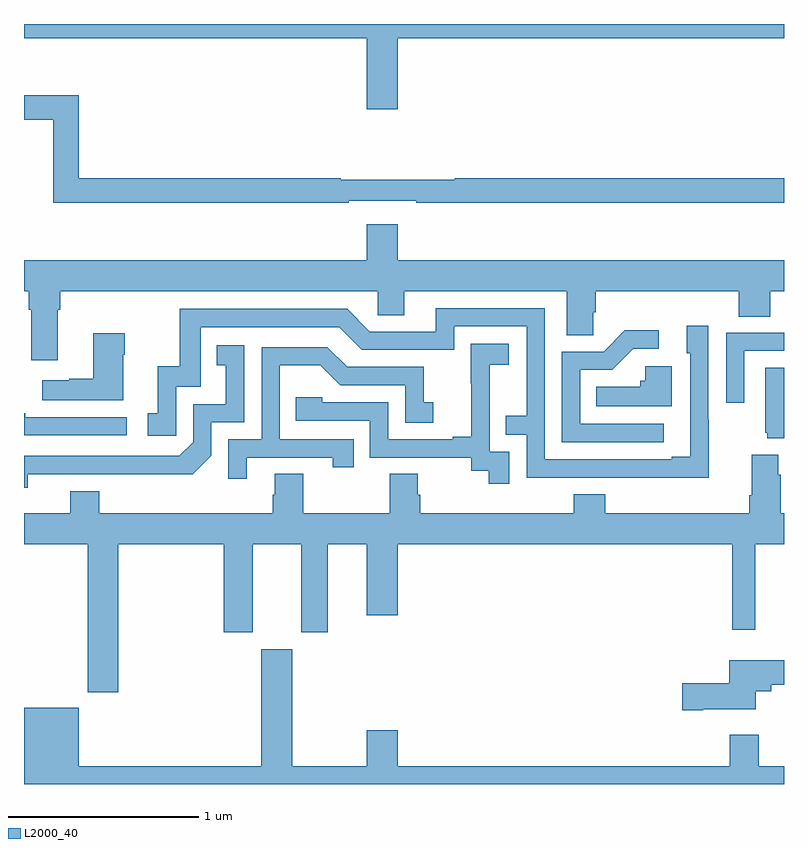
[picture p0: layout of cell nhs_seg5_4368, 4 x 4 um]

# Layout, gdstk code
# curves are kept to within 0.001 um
import gdstk
lib = gdstk.Library(unit=1e-6, precision=1e-09)
def P(c, l, *ps):  # polygons
    for p in ps: c.add(gdstk.Polygon(p, *l))
L2000_40 = (2000, 40)

nhs_seg5_4368 = lib.new_cell('nhs_seg5_4368')
P(nhs_seg5_4368, L2000_40, [(368.968,892.724),(371,892.724),(371,892.799),(367,892.799),(367,892.724),(368.804,892.724),(368.804,892.35),(368.968,892.35)],
  [(368.708,891.87),(369.064,891.87),(369.064,891.858),(371,891.858),(371,891.986),(369.266,891.986),(369.266,891.979),(368.666,891.979),(368.666,891.986),(367.289,891.986),(367.289,892.423),(367,892.423),(367,892.294),(367.153,892.294),(367.153,891.858),(368.708,891.858)],
  [(367.177,891.296),(367.19,891.296),(367.19,891.392),(368.862,891.392),(368.862,891.265),(369.001,891.265),(369.001,891.392),(369.857,891.392),(369.857,891.16),(369.996,891.16),(369.996,891.283),(370.01,891.283),(370.01,891.392),(370.763,891.392),(370.763,891.259),(370.928,891.259),(370.928,891.392),(371,891.392),(371,891.556),(368.968,891.556),(368.968,891.745),(368.804,891.745),(368.804,891.556),(367,891.556),(367,891.392),(367.025,891.392),(367.025,891.296),(367.037,891.296),(367.037,891.03),(367.177,891.03)],
  [(370.605,890.717),(370.602,890.717),(370.602,891.211),(370.487,891.211),(370.487,891.066),(370.506,891.066),(370.506,890.521),(370.409,890.521),(370.409,890.508),(369.741,890.508),(369.741,891.303),(369.167,891.303),(369.167,891.18),(368.82,891.18),(368.7,891.3),(367.821,891.3),(367.821,890.998),(367.703,890.998),(367.703,890.751),(367.65,890.751),(367.65,890.631),(367.8,890.631),(367.8,890.889),(367.929,890.889),(367.929,891.204),(368.658,891.204),(368.778,891.084),(369.264,891.084),(369.264,891.207),(369.645,891.207),(369.645,890.738),(369.535,890.738),(369.535,890.637),(369.645,890.637),(369.645,890.412),(370.605,890.411)],
  [(370.366,890.694),(369.927,890.694),(369.927,890.979),(370.096,890.979),(370.207,891.09),(370.342,891.09),(370.342,891.188),(370.163,891.188),(370.05,891.075),(369.831,891.075),(369.831,890.598),(370.366,890.598)],
  [(370.791,891.078),(371,891.078),(371,891.174),(370.695,891.174),(370.695,890.805),(370.791,890.805)],
  [(367.522,891.059),(367.53,891.059),(367.53,891.172),(367.364,891.172),(367.364,890.933),(367.238,890.933),(367.238,890.923),(367.095,890.923),(367.095,890.819),(367.522,890.819)],
  [(369.555,890.547),(369.45,890.547),(369.45,890.777),(369.452,890.777),(369.452,891.005),(369.55,891.005),(369.55,891.115),(369.352,891.115),(369.352,890.909),(369.353,890.909),(369.353,890.626),(369.257,890.626),(369.257,890.613),(368.916,890.613),(368.916,890.808),(368.571,890.808),(368.571,890.835),(368.431,890.835),(368.431,890.712),(368.82,890.712),(368.82,890.517),(369.354,890.517),(369.354,890.449),(369.447,890.449),(369.447,890.379),(369.555,890.379)],
  [(367.02,890.43),(367.888,890.429),(367.986,890.526),(367.986,890.703),(368.16,890.703),(368.16,891.109),(368.014,891.109),(368.014,891.003),(368.063,891.003),(368.063,890.799),(367.89,890.799),(367.89,890.598),(367.818,890.526),(367,890.526),(367,890.357),(367.02,890.357)],
  [(368.173,890.517),(368.624,890.517),(368.624,890.466),(368.735,890.466),(368.735,890.613),(368.346,890.613),(368.346,891.002),(368.56,891.002),(368.664,890.898),(369.006,890.898),(369.006,890.7),(369.154,890.7),(369.154,890.809),(369.105,890.809),(369.105,890.994),(368.701,890.994),(368.596,891.099),(368.25,891.099),(368.25,890.613),(368.076,890.613),(368.076,890.406),(368.173,890.406)],
  [(370.408,890.998),(370.269,890.998),(370.269,890.922),(370.243,890.922),(370.243,890.89),(370.012,890.89),(370.012,890.786),(370.408,890.786)],
  [(371,890.989),(370.901,890.989),(370.901,890.649),(370.913,890.649),(370.913,890.618),(371,890.618)],
  [(367.54,890.73),(367.007,890.73),(367.007,890.75),(367,890.75),(367,890.634),(367.54,890.634)],
  [(367.496,890.06),(368.051,890.06),(368.051,889.599),(368.203,889.599),(368.203,890.06),(368.459,890.06),(368.459,889.599),(368.599,889.599),(368.599,890.06),(368.804,890.06),(368.804,889.686),(368.968,889.686),(368.968,890.06),(370.728,890.06),(370.728,889.611),(370.849,889.611),(370.849,890.06),(371,890.06),(371,890.224),(370.982,890.224),(370.982,890.426),(370.969,890.426),(370.969,890.533),(370.829,890.533),(370.829,890.32),(370.817,890.32),(370.817,890.224),(370.058,890.224),(370.058,890.323),(369.893,890.323),(369.893,890.224),(369.086,890.224),(369.086,890.322),(369.073,890.322),(369.073,890.432),(368.926,890.432),(368.926,890.224),(368.469,890.224),(368.469,890.432),(368.321,890.432),(368.321,890.322),(368.309,890.322),(368.309,890.224),(367.397,890.224),(367.397,890.341),(367.244,890.341),(367.244,890.224),(367,890.224),(367,890.06),(367.336,890.06),(367.336,889.281),(367.496,889.281)],
  [(371,888.892),(370.867,888.892),(370.867,889.057),(370.715,889.057),(370.715,888.892),(368.968,888.892),(368.968,889.081),(368.804,889.081),(368.804,888.892),(368.413,888.892),(368.413,889.507),(368.249,889.507),(368.249,888.892),(367.288,888.892),(367.288,889.201),(367,889.201),(367,888.799),(371,888.799)],
  [(370.576,889.193),(370.852,889.193),(370.852,889.286),(370.933,889.286),(370.933,889.322),(371,889.322),(371,889.45),(370.712,889.45),(370.712,889.328),(370.464,889.328),(370.464,889.186),(370.576,889.186)])

lib.write_gds('nhs_seg5_4368.gds')
